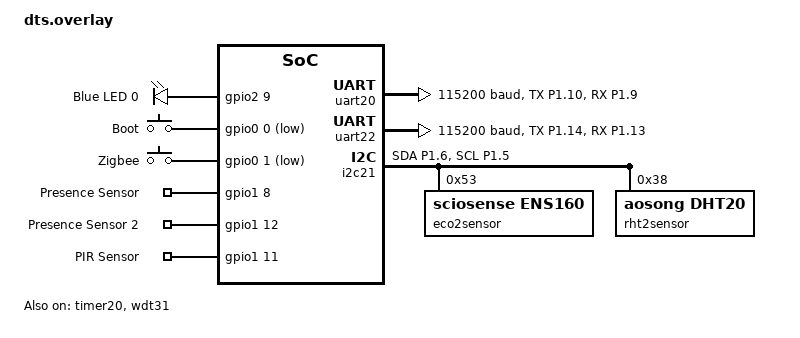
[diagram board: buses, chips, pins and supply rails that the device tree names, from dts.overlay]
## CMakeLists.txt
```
# SPDX-License-Identifier: Apache-2.0

cmake_minimum_required(VERSION 3.20.0)

if(NOT DEFINED ENV{USE_NRF52})
    set(EXTRA_DTC_OVERLAY_FILE "dts.overlay")
else()
    set(EXTRA_DTC_OVERLAY_FILE "dts.52840.overlay")
endif()

find_package(Zephyr REQUIRED HINTS $ENV{ZEPHYR_BASE})
project(presence_dfr_c4001)

target_include_directories(app PRIVATE submodules/esp_generic_lib/include)

target_sources(app PRIVATE src/main.cpp src/ld2412_task.cpp)

add_subdirectory(submodules/nrf_zb_cpp)
add_subdirectory(submodules/nrf_general)
add_subdirectory(submodules/nrf_uart)

target_include_directories(NrfLibUART PRIVATE submodules/esp_generic_lib/include)

target_link_libraries(app PUBLIC NrfLibGeneral)
target_link_libraries(app PUBLIC NrfZBCpp)
target_link_libraries(app PUBLIC NrfLibUART)

include(cmake/CustomLibcxx.cmake)

target_link_options(app PUBLIC
  -Wl,--wrap=nrf_802154_transmitted_raw
  -Wl,--wrap=nrf_802154_transmit_failed
  -Wl,--wrap=nrf_802154_receive_failed
  -Wl,--wrap=nrf_802154_received_raw
  -Wl,--wrap=zb_osif_abort
)

if(COMMAND setup_custom_libcxx)
    setup_custom_libcxx(app)
elseif(ZEPHYR_TOOLCHAIN_VARIANT STREQUAL "cross-compile")
    target_link_libraries(app PRIVATE c stdc++ supc++)
    # target_compile_options(app PRIVATE -fmacro-backtrace-limit=0)
    target_compile_options(app PRIVATE -D__cpp_concepts=202002L -Wno-builtin-macro-redefined -Wno-invalid-offsetof -Wno-unused-variable -Wno-double-promotion)
    target_compile_options(app PRIVATE -freflection)
else()
    target_link_libraries(app PRIVATE c stdc++ supc++)
    target_compile_options(app PRIVATE -fmacro-backtrace-limit=0)
    target_compile_options(app PRIVATE -D__cpp_concepts=202002L -Wno-builtin-macro-redefined -Wno-invalid-offsetof -Wno-unused-variable)
endif()

if(CONFIG_DEBUG_COREDUMP)
    target_compile_options(app PRIVATE -fno-omit-frame-pointer)
endif()
```

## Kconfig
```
config TOOLCHAIN_SUPPORTS_ISR_TABLES_LOCAL_DECLARATION
    default y
config TOOLCHAIN_SUPPORTS_THREAD_LOCAL_STORAGE
    default y
config ZBOSS_PREBUILT_STACK_LTO
    default n

source "Kconfig.zephyr"
```

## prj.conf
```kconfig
#
# Copyright (c) 2020 Nordic Semiconductor ASA
#
# SPDX-License-Identifier: LicenseRef-Nordic-5-Clause
#
CONFIG_SERIAL=y
CONFIG_GPIO=y
CONFIG_SENSOR=y
CONFIG_UART_USE_RUNTIME_CONFIGURE=y
CONFIG_UART_NRFX_CUSTOM_BAUDRATE=y

CONFIG_OVERRIDE_FRAME_POINTER_DEFAULT=y
CONFIG_OMIT_FRAME_POINTER=n
CONFIG_EXTRA_EXCEPTION_INFO=y
CONFIG_HW_STACK_PROTECTION=y
# CONFIG_DEBUG=y
# CONFIG_DEBUG_OPTIMIZATIONS=y
CONFIG_THREAD_MONITOR=y
CONFIG_DEBUG_THREAD_INFO=y
CONFIG_INIT_STACKS=n
CONFIG_RESET_ON_FATAL_ERROR=n

CONFIG_UART_ASYNC_API=y

CONFIG_REBOOT=y
CONFIG_RAM_POWER_DOWN_LIBRARY=y
CONFIG_SETTINGS=y
CONFIG_REGULATOR=y

CONFIG_BOOTLOADER_MCUBOOT=y

CONFIG_DEBUG_COREDUMP=y
CONFIG_DEBUG_COREDUMP_BACKEND_FLASH_PARTITION=y
CONFIG_DEBUG_COREDUMP_MEMORY_DUMP_THREADS=y
CONFIG_DEBUG_COREDUMP_THREADS_METADATA=y

CONFIG_WATCHDOG=y
CONFIG_WDT_DISABLE_AT_BOOT=y

CONFIG_HWINFO=y

CONFIG_NVS=y
CONFIG_SETTINGS_NVS=y
# CONFIG_ZMS=y
# CONFIG_SETTINGS_ZMS=y
# Optional but worthwhile - lookup caches for performance
# CONFIG_ZMS_LOOKUP_CACHE=y
# CONFIG_ZMS_LOOKUP_CACHE_FOR_SETTINGS=y
# CONFIG_SETTINGS_ZMS_NAME_CACHE=y
```

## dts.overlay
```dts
#include "partitions.dtsi"
#include "usb_uart.dtsi"
/ {
	chosen {
		ncs,zigbee-timer = &timer20;
		zephyr,code-partition = &slot0_partition;
		zephyr,console = &uart00;
	};

	leds {
		compatible = "gpio-leds";
		led0: led_0 {
			gpios = <&gpio2 9 GPIO_ACTIVE_HIGH>;
			label = "Blue LED 0";
		};
	};

	buttons {
		compatible = "gpio-keys";

		button0: button_0 {
			gpios = <&gpio0 0 (GPIO_PULL_UP | GPIO_ACTIVE_LOW)>;
			label = "Boot";
		};
		button1: button_1 {
			gpios = <&gpio0 1 (GPIO_PULL_UP | GPIO_ACTIVE_LOW)>;
			label = "Zigbee";
		};
	};

	aliases {
		watchdog0=&wdt31;
		userled0 = &led0;
		presence = &mmwave_sensor_1;
		presence2 = &mmwave_sensor_2;
		pir = &pir_sensor;
		mmwave-uart = &uart20;
		mmwave-uart2 = &uart22;
	};

	/* A standalone node describing your hardware */
	dfr_presence_sensor: presence_sensor {
		compatible = "gpio-keys";
		mmwave_sensor_1: mmwave_sensor_1{
			gpios = <&gpio1 8 (GPIO_ACTIVE_HIGH | GPIO_PULL_DOWN)>;
			label = "Presence Sensor";
		};
		mmwave_sensor_2: mmwave_sensor_2{
			gpios = <&gpio1 12 (GPIO_ACTIVE_HIGH | GPIO_PULL_DOWN)>;
			label = "Presence Sensor 2";
		};
		pir_sensor: pir_sensor{
			gpios = <&gpio1 11 (GPIO_ACTIVE_HIGH | GPIO_PULL_DOWN)>;
			label = "PIR Sensor";
		};
	};
};

&pinctrl {
	//Presence 1 UART
	/omit-if-no-ref/ uart20_default: uart20_default {
		group1 {
			psels = <NRF_PSEL(UART_TX, 1, 10)>;
		};
		group2 {
			psels = <NRF_PSEL(UART_RX, 1, 9)>;
			bias-pull-up;
		};
	};

	/omit-if-no-ref/ uart20_sleep: uart20_sleep {
		group1 {
			psels = <NRF_PSEL(UART_TX, 1, 10)>, <NRF_PSEL(UART_RX, 1, 9)>;
			low-power-enable;
		};
	};

	//i2c sensor bus
	/omit-if-no-ref/ i2c21_default: i2c21_default {
		group1 {
			psels = <NRF_PSEL(TWIM_SDA, 1, 6)>,
				<NRF_PSEL(TWIM_SCL, 1, 5)>;
		};
	};

	/omit-if-no-ref/ i2c21_sleep: i2c21_sleep {
		group1 {
			psels = <NRF_PSEL(TWIM_SDA, 1, 6)>,
				<NRF_PSEL(TWIM_SCL, 1, 5)>;
			low-power-enable;
		};
	};

	//Presence 2 UART
	/omit-if-no-ref/ uart22_default: uart22_default {
		group1 {
			psels = <NRF_PSEL(UART_TX, 1, 14)>;
		};
		group2 {
			psels = <NRF_PSEL(UART_RX, 1, 13)>;
			bias-pull-up;
		};
	};

	/omit-if-no-ref/ uart22_sleep: uart22_sleep {
		group1 {
			psels = <NRF_PSEL(UART_TX, 1, 14)>, <NRF_PSEL(UART_RX, 1, 13)>;
			low-power-enable;
		};
	};
};


&timer20 {
	status = "okay";
};

&uart20 {
	status = "okay";
	/* current-speed = <9600>; */
	current-speed = <115200>;
	pinctrl-0 = <&uart20_default>;
	pinctrl-1 = <&uart20_sleep>;
	pinctrl-names = "default", "sleep";
};

&uart22 {
	status = "okay";
	/* current-speed = <9600>; */
	current-speed = <115200>;
	pinctrl-0 = <&uart22_default>;
	pinctrl-1 = <&uart22_sleep>;
	pinctrl-names = "default", "sleep";
};

&i2c21 {
	status = "okay";
	pinctrl-0 = <&i2c21_default>;
	pinctrl-1 = <&i2c21_sleep>;
	pinctrl-names = "default", "sleep";

	eco2sensor: ens160@53{
		compatible="sciosense,ens160";
		reg = <0x53>;
		status = "okay";
		//zephyr,deferred-init;
	};
	rht2sensor: aht21@38{
		compatible="aosong,dht20";
		reg = <0x38>;
		status = "okay";
		//zephyr,deferred-init;
	};
};

&gpio2 {
	status = "okay";
};

&gpio0 {
	status = "okay";
};

&gpio1 {
	status = "okay";
};
&wdt31 {
	status = "okay";
};
```

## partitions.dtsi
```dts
/delete-node/ &code_partition;
&cpuapp_rram {
	status = "okay";
	partitions {
		compatible = "fixed-partitions";
		#address-cells = <1>;
		#size-cells = <1>;
		boot_partition: partition@0 {
			label = "mcuboot";
			reg = <0x0 DT_SIZE_K(68)>;
		};
		slot0_partition: partition@11000 {
			label = "image-0";
			reg = <0x11000 DT_SIZE_K(892)>;
		};
		coredump_partition: partition@f1000 {
			label = "coredump-partition";
			reg = <0xf1000 DT_SIZE_K(256)>;
		};
		breadcrumbs_partition: partition@15b800{
			label = "breadcrumbs-partition";
			reg = <0x15b800 DT_SIZE_K(2)>;
		};
		zboss_nvram: partition@15c000{
			label = "zboss-nvram";
			reg = <0x15c000 DT_SIZE_K(32)>;
		};
		zboss_product_config: partition@164000{
			label = "zboss-product-config";
			reg = <0x164000 DT_SIZE_K(4)>;
		};
		/* slot1_partition: partition@8D000 { */
		/* 	label = "image-1"; */
		/* 	reg = <0x8D000 DT_SIZE_K(500)>; */
		/* }; */
	};
};
```

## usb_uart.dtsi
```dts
&pinctrl {
	/omit-if-no-ref/ uart00_default: uart00_default {
		group1 {
			psels = <NRF_PSEL(UART_TX, 2, 2)>, <NRF_PSEL(UART_RX, 2, 0)>, <NRF_PSEL(UART_RTS, 2, 5)>, <NRF_PSEL(UART_CTS, 2, 4)>;
		};
	};

	/omit-if-no-ref/ uart00_sleep: uart00_sleep {
		group1 {
			psels = <NRF_PSEL(UART_TX, 2, 2)>, <NRF_PSEL(UART_RX, 2, 0)>, <NRF_PSEL(UART_RTS, 2, 5)>, <NRF_PSEL(UART_CTS, 2, 4)>;
			low-power-enable;
		};
	};
};
&uart00 { 
	status = "okay"; 
	/* current-speed = <14400>; => 115200 */
	current-speed = <115200>;/*921600*/
	pinctrl-0 = <&uart00_default>;
	pinctrl-1 = <&uart00_sleep>;
	pinctrl-names = "default", "sleep";
	hw-flow-control;
};
```

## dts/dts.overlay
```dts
#include "partitions.dtsi"
#include "zigbee_partitions.dtsi"
#include "usb_uart.dtsi"
/ {
	chosen {
		ncs,zigbee-timer = &timer20;
		zephyr,code-partition = &slot0_partition;
		zephyr,console = &uart00;
	};

	leds {
		compatible = "gpio-leds";
		led0: led_0 {
			gpios = <&gpio2 9 GPIO_ACTIVE_HIGH>;
			label = "Blue LED 0";
		};
	};

	buttons {
		compatible = "gpio-keys";

		button0: button_0 {
			gpios = <&gpio0 0 (GPIO_PULL_UP | GPIO_ACTIVE_LOW)>;
			label = "Boot";
		};
		button1: button_1 {
			gpios = <&gpio0 1 (GPIO_PULL_UP | GPIO_ACTIVE_LOW)>;
			label = "Zigbee";
		};
	};

	aliases {
		watchdog0=&wdt31;
		userled0 = &led0;
		presence = &mmwave_sensor_1;
		presence2 = &mmwave_sensor_2;
		pir = &pir_sensor;
		mmwave-uart = &uart20;
		mmwave-uart2 = &uart22;
	};

	/* A standalone node describing your hardware */
	dfr_presence_sensor: presence_sensor {
		compatible = "gpio-keys";
		mmwave_sensor_1: mmwave_sensor_1{
			gpios = <&gpio1 8 (GPIO_ACTIVE_HIGH | GPIO_PULL_DOWN)>;
			label = "Presence Sensor";
		};
		mmwave_sensor_2: mmwave_sensor_2{
			gpios = <&gpio1 12 (GPIO_ACTIVE_HIGH | GPIO_PULL_DOWN)>;
			label = "Presence Sensor 2";
		};
		pir_sensor: pir_sensor{
			gpios = <&gpio1 11 (GPIO_ACTIVE_HIGH | GPIO_PULL_DOWN)>;
			label = "PIR Sensor";
		};
	};

	cpuapp_sram@2002e800 {
		compatible = "zephyr,memory-region", "mmio-sram";
		reg = <0x2002e800 DT_SIZE_K(2)>;
		zephyr,memory-region = "BreadcrumbsMem";
		status = "okay";
		retainedmem {
			compatible = "zephyr,retained-ram";
			status = "okay";
		};
	};
};

&pinctrl {
	//Presence 1 UART
	/omit-if-no-ref/ uart20_default: uart20_default {
		group1 {
			psels = <NRF_PSEL(UART_TX, 1, 10)>;
		};
		group2 {
			psels = <NRF_PSEL(UART_RX, 1, 9)>;
			bias-pull-up;
		};
	};

	/omit-if-no-ref/ uart20_sleep: uart20_sleep {
		group1 {
			psels = <NRF_PSEL(UART_TX, 1, 10)>, <NRF_PSEL(UART_RX, 1, 9)>;
			low-power-enable;
		};
	};

	//i2c sensor bus
	/omit-if-no-ref/ i2c21_default: i2c21_default {
		group1 {
			psels = <NRF_PSEL(TWIM_SDA, 1, 6)>,
				<NRF_PSEL(TWIM_SCL, 1, 5)>;
		};
	};

	/omit-if-no-ref/ i2c21_sleep: i2c21_sleep {
		group1 {
			psels = <NRF_PSEL(TWIM_SDA, 1, 6)>,
				<NRF_PSEL(TWIM_SCL, 1, 5)>;
			low-power-enable;
		};
	};

	//Presence 2 UART
	/omit-if-no-ref/ uart22_default: uart22_default {
		group1 {
			psels = <NRF_PSEL(UART_TX, 1, 14)>;
		};
		group2 {
			psels = <NRF_PSEL(UART_RX, 1, 13)>;
			bias-pull-up;
		};
	};

	/omit-if-no-ref/ uart22_sleep: uart22_sleep {
		group1 {
			psels = <NRF_PSEL(UART_TX, 1, 14)>, <NRF_PSEL(UART_RX, 1, 13)>;
			low-power-enable;
		};
	};
};


&timer20 {
	status = "okay";
};

&uart20 {
	status = "okay";
	/* current-speed = <9600>; */
	current-speed = <115200>;
	pinctrl-0 = <&uart20_default>;
	pinctrl-1 = <&uart20_sleep>;
	pinctrl-names = "default", "sleep";
};

&uart22 {
	status = "okay";
	/* current-speed = <9600>; */
	current-speed = <115200>;
	pinctrl-0 = <&uart22_default>;
	pinctrl-1 = <&uart22_sleep>;
	pinctrl-names = "default", "sleep";
};

&i2c21 {
	status = "okay";
	pinctrl-0 = <&i2c21_default>;
	pinctrl-1 = <&i2c21_sleep>;
	pinctrl-names = "default", "sleep";

	eco2sensor: ens160@53{
		compatible="sciosense,ens160";
		reg = <0x53>;
		status = "okay";
		//zephyr,deferred-init;
	};
	rht2sensor: aht21@38{
		compatible="aosong,dht20";
		reg = <0x38>;
		status = "okay";
		//zephyr,deferred-init;
	};
};

&gpio2 {
	status = "okay";
};

&gpio0 {
	status = "okay";
};

&gpio1 {
	status = "okay";
};
&wdt31 {
	status = "okay";
};

&cpuapp_sram {
	/* Shrink SRAM size to avoid overlap with retained memory region */
	reg = <0x20000000 DT_SIZE_K(186)>;
	ranges = <0x0 0x20000000 0x2e800>;
};
```

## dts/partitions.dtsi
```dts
/delete-node/ &code_partition;
&cpuapp_rram {
	status = "okay";
	partitions {
		compatible = "fixed-partitions";
		#address-cells = <1>;
		#size-cells = <1>;
		boot_partition: partition@0 {
			label = "mcuboot";
			reg = <0x0 DT_SIZE_K(62)>;
		};
		slot0_partition: partition@f800 {
			label = "image-0";
			reg = <0xf800 DT_SIZE_K(900)>;
		};
		coredump_partition: partition@f1000 {
			label = "coredump-partition";
			reg = <0xf1000 DT_SIZE_K(256)>;
		};
		breadcrumbs_partition: partition@15b800{
			label = "breadcrumbs-partition";
			reg = <0x15b800 DT_SIZE_K(2)>;
		};
	};
};
```

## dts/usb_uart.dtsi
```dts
&pinctrl {
	/omit-if-no-ref/ uart00_default: uart00_default {
		group1 {
			psels = <NRF_PSEL(UART_TX, 2, 2)>, <NRF_PSEL(UART_RX, 2, 0)>, <NRF_PSEL(UART_RTS, 2, 5)>, <NRF_PSEL(UART_CTS, 2, 4)>;
		};
	};

	/omit-if-no-ref/ uart00_sleep: uart00_sleep {
		group1 {
			psels = <NRF_PSEL(UART_TX, 2, 2)>, <NRF_PSEL(UART_RX, 2, 0)>, <NRF_PSEL(UART_RTS, 2, 5)>, <NRF_PSEL(UART_CTS, 2, 4)>;
			low-power-enable;
		};
	};
};
&uart00 { 
	status = "okay"; 
	//current-speed = <14400>;/*115200*/
	current-speed = <115200>;/*921600*/
	//current-speed = <57600>;/*460800*/
	pinctrl-0 = <&uart00_default>;
	pinctrl-1 = <&uart00_sleep>;
	pinctrl-names = "default", "sleep";
	hw-flow-control;
};
```

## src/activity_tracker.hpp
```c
#ifndef ACTIVITY_TRACKER_HPP_
#define ACTIVITY_TRACKER_HPP_

#include <atomic>
#include <cstddef>
#include <cstdint>

namespace zephyr
{

    template<uint8_t kFlag>
    struct activity_t
    {
        std::atomic_ref<volatile uint8_t> f;
        activity_t(volatile uint8_t &d):f(d) { f |= kFlag; }
        ~activity_t() { f &= ~kFlag; }
    };

    struct activity_rt_t
    {
        std::atomic_ref<volatile uint8_t> f;
        uint8_t kFlag;
        activity_rt_t(volatile uint8_t &d, uint8_t flag):f(d), kFlag(flag) { f |= kFlag; }
        ~activity_rt_t() { f &= ~kFlag; }
    };

    constexpr uint8_t kOSIF  = uint8_t(1) << 0;
    constexpr uint8_t kLD2412_Back_Main  = uint8_t(1) << 1;
    constexpr uint8_t kLD2412_Back_Aux   = uint8_t(1) << 2;
    constexpr uint8_t kLD2412_Front_Main = uint8_t(1) << 3;
    constexpr uint8_t kLD2412_Front_Aux  = uint8_t(1) << 4;
    constexpr uint8_t kEnv               = uint8_t(1) << 5;
}

#endif
```

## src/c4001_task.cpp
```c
#define FORCE_FMT
#define PRINTF_FUNC(...) printk(__VA_ARGS__)

#include <zephyr/kernel.h>
#include <zephyr/drivers/gpio.h>
#include "c4001_task.hpp"
#include <lib_misc_helpers.hpp>

namespace c4001
{
    Instance::Instance(C4001Q &q, const struct device *uart, const char* thread_name):
	c4001_thread_name(thread_name),
	c4001q(q),
	c4001_uart(uart),
	c4001(c4001_uart)
    {
    }

    dfr::C4001* Instance::setup(err_callback_t err, upd_callback_t upd)
    {
	if (!device_is_ready(c4001_uart))
	{
	    printk("uart for c4001 is not ready\r\n");
	    c4001_thread = nullptr;
	    return nullptr;
	}
	auto r = c4001.Init();
	if (!r)
	{
	    FMT_PRINTLN("c4001 init failed with {}", r.error());
	    c4001_thread = nullptr;
	    return nullptr;
	}
	g_err = err;
	g_upd = upd;

	c4001_thread = k_thread_create(&c4001_thread_e 
	    ,c4001_thread_stack
	    ,sizeof(c4001_thread_stack)
	    ,c4001_thread_entry
	    ,this, nullptr, nullptr
	    ,C4001_THREAD_PRIORITY
	    , 0
	    , {0});
	if (!c4001_thread)
	    return nullptr;
	k_thread_name_set(c4001_thread, c4001_thread_name);
	return &c4001;
    }

    dfr::C4001* Instance::sensor()
    {
	return &c4001;
	//if (c4001_thread)
	//    return &c4001;
	//else
	//    return nullptr;
    }

    void Instance::set_range(float from, float to)
    {
	c4001q << range_t{.from = from, .to = to};
    }

    void Instance::set_range_from(float v)
    {
	c4001q << range_t{.from = v, .to = c4001.GetRangeTo()};
    }

    void Instance::set_range_to(float v)
    {
	c4001q << range_t{.from = c4001.GetRangeFrom(), .to = v};
    }

    void Instance::set_range_trig(float trig)
    {
	c4001q << range_trig_t{.trig = trig};
    }

    void Instance::set_detect_delay(float v)
    {
	c4001q << delay_t{.detect = v, .clear = c4001.GetClearLatency()};
    }

    void Instance::set_clear_delay(float v)
    {
	c4001q << delay_t{.detect = c4001.GetDetectLatency(), .clear = v};
    }

    void Instance::set_detect_clear_delay(float detect, float clear)
    {
	c4001q << delay_t{.detect = detect, .clear = clear};
    }

    void Instance::set_detect_sensitivity(uint8_t s)
    {
	c4001q << sensitivity_t{.detect = s, .hold = 255};
    }

    void Instance::set_hold_sensitivity(uint8_t s)
    {
	c4001q << sensitivity_t{.detect = 255, .hold = s};
    }

    void Instance::set_sensitivity(uint8_t detect, uint8_t hold)
    {
	c4001q << sensitivity_t{.detect = detect, .hold = hold};
    }

    void Instance::set_inhibit_duration(float dur)
    {
	c4001q << inhibit_duration_t{.duration = dur};
    }

    void Instance::save_config()
    {
	c4001q << save_cfg_t{};
    }

    void Instance::reset_config()
    {
	c4001q << reset_cfg_t{};
    }

    void Instance::restart()
    {
	c4001q << restart_cfg_t{};
    }

    void Instance::c4001_thread_entry(void *_pThis, void *, void *)
    {
	Instance *pThis = (Instance*)(_pThis);
	return pThis->c4001_mainloop();
    }

    void Instance::c4001_mainloop()
    {
	QueueItem q;
	using Cfg = dfr::C4001::Configurator;
	while(1)
	{
	    c4001q >> q;
	    std::visit(
		overloaded{
		    [&](range_t const& v){ 
			if (auto r = c4001
				.GetConfigurator()
				.SetRange(v.from, v.to)
				.and_then([](Cfg &cfg){ return cfg.SaveConfig(); })
				.and_then([](Cfg &cfg){ return cfg.UpdateRange(); }); !r)
			{
			    if (g_err) g_err(err_t::Range);
			}
			else if (g_upd)
			    g_upd(cfg_id_t::Range);
		    }
		    ,[&](range_trig_t const& v){  
			if (auto r = c4001
				.GetConfigurator()
				.SetTrigRange(v.trig)
				.and_then([](Cfg &cfg){ return cfg.SaveConfig(); })
				.and_then([](Cfg &cfg){ return cfg.UpdateTrigRange(); }); !r)
			{
			    if (g_err) g_err(err_t::RangeTrig);
			}
			else if (g_upd)
			    g_upd(cfg_id_t::RangeTrig);
		    }
		    ,[&](delay_t const& v){  
			if (auto r = c4001
				.GetConfigurator()
				.SetLatency(v.detect, v.clear)
				.and_then([](Cfg &cfg){ return cfg.SaveConfig(); })
				.and_then([](Cfg &cfg){ return cfg.UpdateLatency(); }); !r)
			{
			    if (g_err) g_err(err_t::Delay);
			}
			else if (g_upd)
			    g_upd(cfg_id_t::Delay);
		    }
		    ,[&](sensitivity_t const& v){  
			if (auto r = c4001
				.GetConfigurator()
				.SetSensitivity(v.detect, v.hold)
				.and_then([](Cfg &cfg){ return cfg.SaveConfig(); })
				.and_then([](Cfg &cfg){ return cfg.UpdateSensitivity(); }); !r)
			{
			    if (g_err) g_err(err_t::Sensitivity);
			}
			else if (g_upd)
			    g_upd(cfg_id_t::Sensitivity);
		    }
		    ,[&](inhibit_duration_t const& v){  
			if (auto r = c4001
				.GetConfigurator()
				.SetInhibit(v.duration)
				.and_then([](Cfg &cfg){ return cfg.SaveConfig(); })
				.and_then([](Cfg &cfg){ return cfg.UpdateInhibit(); }); !r)
			{
			    if (g_err) g_err(err_t::InhibitDuration);
			}
			else if (g_upd)
			    g_upd(cfg_id_t::InhibitDuration);
		    }
		    ,[&](save_cfg_t const& v){  
			if (auto r = c4001
				.GetConfigurator()
				.SaveConfig(); !r && g_err)
			    g_err(err_t::SaveConfig);
		    }
		    ,[&](reset_cfg_t const& v){  
			if (auto r = c4001
				.GetConfigurator()
				.ResetConfig(); !r)
			{
			    if (g_err) g_err(err_t::ResetConfig);
			}
			else if (g_upd)
			    g_upd(cfg_id_t::All);
		    }
		    ,[&](restart_cfg_t const& v){  
			if (auto r = c4001
				.GetConfigurator()
				.Restart(); !r)
			{
			    if (g_err) g_err(err_t::Restart);
			}
			else if (g_upd)
			    g_upd(cfg_id_t::All);
		    }
		    ,[&](reload_cfg_t const& v){  
			if (auto r = c4001
				.GetConfigurator()
				.ReloadConfig(); !r)
			{
			    if (g_err) g_err(err_t::ReloadConfig);
			}
			else if (g_upd)
			    g_upd(cfg_id_t::All);
		    }
		},
		q
	    );
	}
    }
}
```

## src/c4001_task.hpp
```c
#ifndef C4001_TASK_HPP_
#define C4001_TASK_HPP_
#include <nrf_uart/periphery/lib_dfr_c4001.h>
#include <utility>
#include <variant>
#include <nrf_general/lib_msgq_typed.hpp>

namespace c4001
{
    enum class cfg_id_t: uint8_t
    {
        Range           = 1 << 0,
        RangeTrig       = 1 << 1,
        Delay           = 1 << 2,
        Sensitivity     = 1 << 3,
        InhibitDuration = 1 << 4,
        All = Range | RangeTrig | Delay | Sensitivity | InhibitDuration,
    };
    constexpr bool operator&(cfg_id_t i1, cfg_id_t i2) { return (std::to_underlying(i1) & std::to_underlying(i2)) != 0; }

    enum class err_t
    {
        Ok,
        Range,
        RangeTrig,
        Delay,
        Sensitivity,
        InhibitDuration,
        SaveConfig,
        ResetConfig,
        Restart,
        ReloadConfig,
    };

    class Instance
    {
    public:
        using err_callback_t = void(*)(err_t);
        using upd_callback_t = void(*)(cfg_id_t);

        /**********************************************************************/
        /* Message Queue definitions + commands                               */
        /**********************************************************************/
        struct range_t
        {
            float from;
            float to;
        };
        struct range_trig_t
        {
            float trig;
        };
        struct delay_t
        {
            float detect;
            float clear;
        };
        struct sensitivity_t
        {
            uint8_t detect;
            uint8_t hold;
        };
        struct inhibit_duration_t
        {
            float duration;
        };
        struct save_cfg_t{};
        struct reset_cfg_t{};
        struct restart_cfg_t{};
        struct reload_cfg_t{};

        using QueueItem = std::variant<
                      range_t
                    , range_trig_t
                    , delay_t
                    , sensitivity_t
                    , inhibit_duration_t
                    , save_cfg_t
                    , reset_cfg_t
                    , restart_cfg_t
                    , reload_cfg_t
                >;

        using C4001Q = msgq::Queue<QueueItem,4>;

        Instance(C4001Q &q, const struct device *uart, const char* thread_name);

        dfr::C4001* setup(err_callback_t err, upd_callback_t upd);

        dfr::C4001* sensor();

        void set_range(float from, float to);
        void set_range_from(float v);
        void set_range_to(float v);
        void set_range_trig(float trig);
        void set_detect_delay(float v);
        void set_clear_delay(float v);
        void set_detect_clear_delay(float detect, float clear);
        void set_detect_sensitivity(uint8_t s);
        void set_hold_sensitivity(uint8_t s);
        void set_sensitivity(uint8_t detect, uint8_t hold);
        void set_inhibit_duration(float dur);
        void save_config();
        void reset_config();
        void restart();

    private:
        static void c4001_thread_entry(void *, void *, void *);
        void c4001_mainloop();


        static constexpr size_t C4001_THREAD_STACK_SIZE = 1024 * 2;
        static constexpr size_t C4001_THREAD_PRIORITY=7;
        alignas(16) k_thread_stack_t c4001_thread_stack[C4001_THREAD_STACK_SIZE];
        k_thread c4001_thread_e;
        const char *c4001_thread_name = nullptr;

        k_tid_t c4001_thread = nullptr;
        C4001Q &c4001q;
        err_callback_t g_err = nullptr;
        upd_callback_t g_upd = nullptr;
        const struct device *c4001_uart;
        dfr::C4001 c4001;
    };
}

#endif
```

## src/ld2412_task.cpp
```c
#include "ld2412_task.hpp"
#include "activity_tracker.hpp"
#include <lib_misc_helpers.hpp>
#include <nrf_uart/periphery/lib_ld2412_formatters.hpp>

namespace ld2412
{
    Instance::Instance(Queue &q, const struct device *uart, const char* thread_name):
	m_ThreadName(thread_name)
	, m_Q(q)
	, m_pUART(uart)
	, m_Sensor(uart)
    {
    }

    hlk::LD2412* Instance::setup(err_callback_t err, notify_callback_t notification, uint8_t idx, volatile uint8_t &flags)
    {
	m_Idx = idx;
	m_pFlags = &flags;
	m_ThreadID = {};
	if (!device_is_ready(m_pUART))
	{
	    printk("uart for ld2412 is not ready\r\n");
	    return {};
	}

	zephyr::activity_rt_t track(*m_pFlags, zephyr::kLD2412_Back_Main << m_Idx);
	auto r = m_Sensor.Init();
	if (!r)
	    return {};

	r = m_Sensor.ChangeConfiguration()
	    .SetSystemMode(hlk::LD2412::SystemMode::Energy)
	.EndChange();
	if (!r)
	    return {};

	m_ErrCB = err;
	m_NotifyCB = notification;

	m_ThreadID = k_thread_create(&m_Thread 
	    ,m_ThreadStack
	    ,sizeof(m_ThreadStack)
	    ,thread_func
	    ,this, nullptr, nullptr
	    ,THREAD_PRIORITY
	    , 0
	    , {0});
	if (!m_ThreadID)
	    return {};
	k_thread_name_set(m_ThreadID, m_ThreadName);
	return &m_Sensor;
    }

    hlk::LD2412* Instance::sensor()
    {
	if (m_ThreadID)
	    return &m_Sensor;
	else
	    return {};
    }

    void Instance::restart()
    {
	m_Q << restart_cfg_t{};
    }
    void Instance::reload_config()
    {
	m_Q << reload_cfg_t{};
    }
    void Instance::factory_reset()
    {
	m_Q << factory_reset_cfg_t{};
    }
    void Instance::switch_bluetooth(bool on)
    {
	m_Q << bt_cfg_t{.on = on};
    }
    void Instance::set_basic_config(basic_cfg_t const& cfg)
    {
	m_Q << cfg;
    }
    void Instance::set_light_sense(light_sense_cfg_t const& cfg)
    {
	m_Q << cfg;
    }
    void Instance::set_still_thresholds(still_thresholds_cfg_t const& cfg)
    {
	FMT_PRINTLN("{} still thresholds: {}", m_ThreadName, cfg.still_thresholds);
	m_Q << cfg;
    }
    void Instance::set_move_thresholds(move_thresholds_cfg_t const& cfg)
    {
	FMT_PRINTLN("{} move thresholds: {}", m_ThreadName, cfg.move_thresholds);
	m_Q << cfg;
    }
    void Instance::run_back_analysis(run_background_analysis_t const& cfg)
    {
	m_Q << cfg;
    }
    void Instance::collect_statistics(uint8_t win_size)
    {
	m_Q << collect_statistics_cfg_t{win_size};
    }
    void Instance::take_statistic_snapshot(snapshot_statistics_cfg_t const& cfg)
    {
	m_Q << cfg;
    }

    void Instance::start_analysis_for_presence(start_analysis_for_presence_t const& cfg)
    {
	m_Q << cfg;
    }

    void Instance::start_analysis_for_absence(start_analysis_for_absence_t const& cfg)
    {
	m_Q << cfg;
    }

    void Instance::stop_analysis(stop_analysis_t const& cfg)
    {
	m_Q << cfg;
    }

    void Instance::get_analysis_results(hlk::LD2412::gate_array_t &results)
    {
	results = m_AnalysisStillEnergies;
    }

    void Instance::thread_func(void *_pThis, void *, void *)
    {
	Instance *pThis = (Instance*)(_pThis);
	return pThis->mainloop();
    }

    void Instance::collect_sample()
    {
	if (m_StatSampleCount)//we're collecting statistics
	{
	    auto &sample = m_StatSampleBuffer[m_StatSampleIndex];
	    sample.still_energies = m_Sensor.GetAllMeasuredStillEnergies();
	    sample.move_energies = m_Sensor.GetAllMeasuredMoveEnergies();
	    m_StatSampleIndex = (m_StatSampleIndex + 1) % m_StatSampleCount;
	    ++m_TotalSamplesWritten;
	}

	if (m_Analysis != AnalysisState::Stopped)
	{
	    auto const &measured = m_Sensor.GetAllMeasuredStillEnergies();
	    for(size_t i = 0; i < measured.size(); ++i)
	    {
		if (m_Analysis == AnalysisState::RunningForPresence)
		{
		    if (m_AnalysisStillEnergies[i] > measured[i])
			m_AnalysisStillEnergies[i] = measured[i];
		}
		if (m_Analysis == AnalysisState::RunningForAbsence)
		{
		    if (m_AnalysisStillEnergies[i] < measured[i])
			m_AnalysisStillEnergies[i] = measured[i];
		}
	    }
	}
    }

    void Instance::check_back_analysis()
    {
	if (m_BackgroundAnalysisDoneCB)
	{
	    run_background_analysis_t::Result r;
	    switch(m_Sensor.GetPresence().m_State)
	    {
		case hlk::LD2412::TargetState::BackgroundAnalysisOk:
		    r = run_background_analysis_t::Result::Ok;
		    break;
		case hlk::LD2412::TargetState::BackgroundAnalysisFailed:
		    r = run_background_analysis_t::Result::Failed;
		    break;
		case hlk::LD2412::TargetState::BackgroundAnalysisRunning:
		    return;
		default:
		    if (m_Sensor.IsDynamicBackgroundAnalysisRunning())
			return;
		    //assuming done
		    r = run_background_analysis_t::Result::Ok;
		    break;
	    }

	    m_BackgroundAnalysisDoneCB(r);
	    m_BackgroundAnalysisDoneCB = nullptr;

	    auto res = m_Sensor.ChangeConfiguration()
		.SetSystemMode(hlk::LD2412::SystemMode::Energy)
	    .EndChange();
	    if (!res)
	    {
		FMT_PRINTLN("{} Switching to Energy mode failed with: {}", m_ThreadName, res.error());
		if (m_ErrCB)
		    m_ErrCB(err_t::EnergyModeAfterBackAnalysis);
	    }
	}
    }

    void Instance::mainloop()
    {
	QueueItem q;
	bool processMessage = true;
	bool readFrameNow = false;

	auto last_frame_time = k_uptime_get();

	while(1)
	{
	    if (m_StatSampleCount || m_BackgroundAnalysisDoneCB || m_Analysis != AnalysisState::Stopped)
		readFrameNow = true;
	    else
	    {
		auto interval = m_LightSensorUpdateInterval;
		readFrameNow = (k_uptime_get() - last_frame_time) >= interval;
	    }

	    if (readFrameNow)
	    {
		zephyr::activity_rt_t track(*m_pFlags, zephyr::kLD2412_Back_Main << m_Idx);
		auto r = m_Sensor.TryReadSingleFrame(3, hlk::LD2412::Drain::Try);
		if (r)
		{
		    last_frame_time = k_uptime_get();
		    collect_sample();
		    check_back_analysis();
		}else
		    ++m_FrameReadErrorCount;
		processMessage = m_Q.Recv(q, K_NO_WAIT) == 0;
	    }
	    else
	    {
		m_Q >> q;
		processMessage = true;
	    }

	    if (processMessage)
	    {
		zephyr::activity_rt_t track(*m_pFlags, zephyr::kLD2412_Back_Main << m_Idx);
		std::visit(
		    overloaded{
			[&](restart_cfg_t const&)
			{
			    if (auto r = m_Sensor.Restart(); !r)
			    {
				FMT_PRINTLN("{} Restart failed with: {}", m_ThreadName, r.error());
				if (m_ErrCB) m_ErrCB(err_t::Restart);
			    }
			}
			,[&](reload_cfg_t const&)
			{
			    if (auto r = m_Sensor.ReloadConfig(); !r)
			    {
				FMT_PRINTLN("{} Reload failed with: {}", m_ThreadName, r.error());
				if (m_ErrCB) m_ErrCB(err_t::ReloadConfig);
			    }
			}
			,[&](factory_reset_cfg_t const&)
			{
			    if (auto r = m_Sensor.FactoryReset(); !r)
			    {
				FMT_PRINTLN("{} Factory reset failed with: {}", m_ThreadName, r.error());
				if (m_ErrCB) m_ErrCB(err_t::FactoryReset);
			    }
			}
			,[&](bt_cfg_t const& cfg)
			{
			    if (auto r = m_Sensor.SwitchBluetooth(cfg.on); !r)
			    {
				FMT_PRINTLN("{} BT switch failed with: {}", m_ThreadName, r.error());
				if (m_ErrCB) m_ErrCB(err_t::Bluetooth);
			    }
			}
			,[&](basic_cfg_t const& cfg)
			{
			    auto r = m_Sensor.ChangeConfiguration(true)
				.SetDistanceRes(cfg.resolution)
				.SetMinDistanceRaw(cfg.gate_from)
				.SetMaxDistanceRaw(cfg.gate_to)
				.SetTimeout(cfg.clear_delay)
			    .EndChange();
			    if (!r)
			    {
				FMT_PRINTLN("{} Basic config set failed with: {}", m_ThreadName, r.error());
			    }
			    else if (r && m_NotifyCB)
				m_NotifyCB(notification_id_t::SetBasicCfgDone);
			    if (!r && m_ErrCB)
				m_ErrCB(err_t::SetBasicCfg);
			}
			,[&](light_sense_cfg_t const& cfg)
			{
			    auto r = m_Sensor.ChangeConfiguration(true)
				.SetLightSensitivity(cfg.mode, cfg.threshold)
			    .EndChange();
			    if (!r)
			    {
				FMT_PRINTLN("{} Light sense set failed with: {}", m_ThreadName, r.error());
			    }
			    else if (r && m_NotifyCB)
				m_NotifyCB(notification_id_t::SetLightSenseDone);
			    if (!r && m_ErrCB)
				m_ErrCB(err_t::SetLightSenseCfg);
			}
			,[&](still_thresholds_cfg_t const& cfg)
			{
			    auto r = m_Sensor.ChangeConfiguration(true)
				.SetStillThresholds(cfg.still_thresholds)
			    .EndChange();
			    if (!r)
			    {
				FMT_PRINTLN("{} Still thr set failed with: {}", m_ThreadName, r.error());
			    }
			    else if (r && m_NotifyCB)
				m_NotifyCB(notification_id_t::SetEnergyThresholdsDone);
			    if (!r && m_ErrCB)
				m_ErrCB(err_t::SetEnergyThresholds);
			}
			,[&](move_thresholds_cfg_t const& cfg)
			{
			    auto r = m_Sensor.ChangeConfiguration(true)
				.SetMoveThresholds(cfg.move_thresholds)
			    .EndChange();
			    if (!r)
			    {
				FMT_PRINTLN("{} Move thr set failed with: {}", m_ThreadName, r.error());
			    }
			    else if (r && m_NotifyCB)
				m_NotifyCB(notification_id_t::SetEnergyThresholdsDone);
			    if (!r && m_ErrCB)
				m_ErrCB(err_t::SetEnergyThresholds);
			}
			,[&](run_background_analysis_t const& cfg)
			{
			    if (auto r = m_Sensor.RunDynamicBackgroundAnalysis(); !r)
			    {
				FMT_PRINTLN("{} starting back analysis failed with: {}", m_ThreadName, r.error());
				if (m_ErrCB)
				    m_ErrCB(err_t::RunBackAnalysis);
			    }else
				m_BackgroundAnalysisDoneCB = cfg.cb;
			}
			,[&](collect_statistics_cfg_t const& cfg)
			{
			    m_StatSampleCount = cfg.window_size;
			    if (m_StatSampleCount > MAX_STAT_SAMPLE_SIZE)
				m_StatSampleCount = MAX_STAT_SAMPLE_SIZE;
			    m_StatSampleIndex = 0;
			    m_TotalSamplesWritten = 0;
			    FMT_PRINTLN("{}: Collecting stats with window {}", m_ThreadName, m_StatSampleCount);
			    if (m_Sensor.GetSystemMode() != hlk::LD2412::SystemMode::Energy)
			    {
				FMT_PRINTLN("{}: changing mode to 'Energy'", m_ThreadName);
				auto r = m_Sensor.ChangeConfiguration()
				    .SetSystemMode(hlk::LD2412::SystemMode::Energy)
				.EndChange();
				if (!r)
				{
				    FMT_PRINTLN("{}: changing mode failed with {}", m_ThreadName, r.error());
				}
			    }
			}
			,[&](snapshot_statistics_cfg_t const& cfg)
			{
			    if (cfg.cb)
			    {
				if (!m_TotalSamplesWritten)
				{
				    FMT_PRINTLN("{}: no samples collected. Frame reading errors: {}", m_ThreadName, m_FrameReadErrorCount);
				    if (m_ErrCB)
					m_ErrCB(err_t::SnapshotStatistics);
				    return;
				}
				hlk::LD2412::energy_stat_array_t still, move;
				size_t sum_still[14];  
				size_t sum_move[14];  

				for(int g = 0; g < 14; ++g)
				{
				    auto still_e = m_StatSampleBuffer[0].still_energies[g];
				    auto move_e = m_StatSampleBuffer[0].move_energies[g];

				    sum_still[g] = still[g].max = still[g].min = still_e;
				    sum_move[g] = move[g].max = move[g].min = move_e;
				}

				size_t n = std::min(m_TotalSamplesWritten, m_StatSampleCount);
				for(size_t sample = 1; sample < n; ++sample)
				{
				    for(int g = 0; g < 14; ++g)
				    {
					auto still_e = m_StatSampleBuffer[sample].still_energies[g];
					auto move_e = m_StatSampleBuffer[sample].move_energies[g];

					sum_still[g] += still_e;
					sum_move[g] += move_e;

					if(still[g].min > still_e) still[g].min = still_e;
					if(still[g].max < still_e) still[g].max = still_e;
					if(move[g].min > move_e) move[g].min = move_e;
					if(move[g].max < move_e) move[g].max = move_e;
				    }
				}

				for(int g = 0; g < 14; ++g)
				{
				    still[g].avg = sum_still[g] / n;
				    move[g].avg = sum_move[g] / n;
				}

				cfg.cb(still, move);
			    }
			}
			,[&](start_analysis_for_presence_t const& cfg)
			{
			    if (m_Analysis != AnalysisState::RunningForPresence)
			    {
				m_AnalysisStillEnergies.fill(100);
				m_Analysis = AnalysisState::RunningForPresence;
				if (m_Sensor.GetSystemMode() != hlk::LD2412::SystemMode::Energy)
				{
				    FMT_PRINTLN("{}: changing mode to 'Energy'", m_ThreadName);
				    auto r = m_Sensor.ChangeConfiguration()
					.SetSystemMode(hlk::LD2412::SystemMode::Energy)
					.EndChange();
				    if (!r)
				    {
					FMT_PRINTLN("{}: changing mode failed with {}", m_ThreadName, r.error());
				    }
				}
			    }
			}
			,[&](start_analysis_for_absence_t const& cfg)
			{
			    if (m_Analysis != AnalysisState::RunningForAbsence)
			    {
				m_AnalysisStillEnergies.fill(0);
				m_Analysis = AnalysisState::RunningForAbsence;
				if (m_Sensor.GetSystemMode() != hlk::LD2412::SystemMode::Energy)
				{
				    FMT_PRINTLN("{}: changing mode to 'Energy'", m_ThreadName);
				    auto r = m_Sensor.ChangeConfiguration()
					.SetSystemMode(hlk::LD2412::SystemMode::Energy)
					.EndChange();
				    if (!r)
				    {
					FMT_PRINTLN("{}: changing mode failed with {}", m_ThreadName, r.error());
				    }
				}
			    }
			}
			,[&](stop_analysis_t const& cfg)
			{
			    m_Analysis = AnalysisState::Stopped;
			}
		    },
		     q
		);
	    }
	}
    }
}
```

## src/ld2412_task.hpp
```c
#ifndef LD2412_TASK_HPP_
#define LD2412_TASK_HPP_

#include <optional>
#include <variant>
#include <nrf_general/lib_msgq_typed.hpp>
#include <nrf_uart/periphery/lib_ld2412.hpp>

namespace ld2412
{
    enum class err_t
    {
        Ok,
        Restart,
        ReloadConfig,
        FactoryReset,
        Bluetooth,
        SetBasicCfg,
        SetLightSenseCfg,
        SetEnergyThresholds,
        RunBackAnalysis,
        ConfigureCollectStatistics,
        SnapshotStatistics,
        EnergyModeAfterBackAnalysis
    };

    enum class notification_id_t: uint8_t
    {
        BackgroundAnalysisDone
        , BackgroundAnalysisError
        , SetBasicCfgDone
        , SetLightSenseDone
        , SetEnergyThresholdsDone
    };

    struct basic_cfg_t{
        hlk::LD2412::DistanceRes resolution = hlk::LD2412::DistanceRes::_0_50;
        uint8_t gate_from = 0;
        uint8_t gate_to = 13;
        uint16_t clear_delay = 0;
    };
    struct light_sense_cfg_t{
        hlk::LD2412::LightSensitivity mode = hlk::LD2412::LightSensitivity::Off;;
        uint8_t threshold = 0;
    };
    struct still_thresholds_cfg_t{
        hlk::LD2412::gate_array_t const& still_thresholds;
    };
    struct move_thresholds_cfg_t{
        hlk::LD2412::gate_array_t const& move_thresholds;
    };
    struct run_background_analysis_t{
        enum class Result
        {
            Ok,
            Failed
        };
        using callback_t = void(*)(Result result);
        callback_t cb;
    };
    struct collect_statistics_cfg_t{
        uint8_t window_size = 0;//samples 0 -> off
    };
    struct snapshot_statistics_cfg_t{
        using callback_t = void(*)(hlk::LD2412::energy_stat_array_t const& still, hlk::LD2412::energy_stat_array_t const& move);
        callback_t cb;
    };
    struct restart_cfg_t{};
    struct reload_cfg_t{};
    struct factory_reset_cfg_t{};
    struct bt_cfg_t{bool on;};
    struct start_analysis_for_presence_t{};
    struct start_analysis_for_absence_t{};
    struct stop_analysis_t{};

    using QueueItem = std::variant<
        restart_cfg_t
        , reload_cfg_t
        , factory_reset_cfg_t
        , bt_cfg_t
        , basic_cfg_t
        , light_sense_cfg_t
        , still_thresholds_cfg_t
        , move_thresholds_cfg_t
        , run_background_analysis_t
        , collect_statistics_cfg_t
        , snapshot_statistics_cfg_t
        , start_analysis_for_presence_t
        , start_analysis_for_absence_t
        , stop_analysis_t
    >;
    using Queue = msgq::Queue<QueueItem,4>;

    class Instance
    {
    public:
        using err_callback_t = void(*)(err_t);
        using notify_callback_t = void(*)(notification_id_t);

        Instance(Queue &q, const struct device *uart, const char* thread_name);

        hlk::LD2412* setup(err_callback_t err, notify_callback_t notification, uint8_t idx, volatile uint8_t &flags);
        hlk::LD2412* sensor();

        void restart();
        void reload_config();
        void factory_reset();
        void switch_bluetooth(bool on);
        void set_basic_config(basic_cfg_t const& cfg);
        void set_light_sense(light_sense_cfg_t const& cfg);
        void set_still_thresholds(still_thresholds_cfg_t const& cfg);
        void set_move_thresholds(move_thresholds_cfg_t const& cfg);
        void set_still_thresholds_raw(hlk::LD2412::gate_array_t const& thr) { set_still_thresholds(still_thresholds_cfg_t{.still_thresholds = thr}); }
        void set_move_thresholds_raw(hlk::LD2412::gate_array_t const& thr) { set_move_thresholds(move_thresholds_cfg_t{.move_thresholds = thr}); }
        void run_back_analysis(run_background_analysis_t const& cfg);
        void collect_statistics(uint8_t win_size);
        void take_statistic_snapshot(snapshot_statistics_cfg_t const& cfg);

        void start_analysis_for_presence(start_analysis_for_presence_t const& cfg);
        void start_analysis_for_absence(start_analysis_for_absence_t const& cfg);
        void stop_analysis(stop_analysis_t const& cfg);
        void get_analysis_results(hlk::LD2412::gate_array_t &results);

        auto get_stat_collect_window_size() const { return m_StatSampleCount; }
        bool is_running_back_analysis() const { return m_BackgroundAnalysisDoneCB != nullptr; }
    private:
        void mainloop();
        void collect_sample();
        void check_back_analysis();

        enum AnalysisState
        {
            Stopped,
            RunningForPresence,
            RunningForAbsence,
        };

        /**********************************************************************/
        /* Thread-related stuff                                               */
        /**********************************************************************/
        static void thread_func(void *, void *, void *);

        static constexpr uint8_t MAX_STAT_SAMPLE_SIZE = 255;
        static constexpr size_t THREAD_STACK_SIZE = 1024 * 2;
        static constexpr size_t THREAD_PRIORITY=7;

        alignas(16) k_thread_stack_t m_ThreadStack[THREAD_STACK_SIZE];
        k_thread m_Thread;
        const char *m_ThreadName = nullptr;
        k_tid_t m_ThreadID = {};

        /**********************************************************************/
        /* End of thread-related stuff                                        */
        /**********************************************************************/
        Queue &m_Q;
        const struct device *m_pUART;
        hlk::LD2412 m_Sensor;

        err_callback_t m_ErrCB = nullptr;
        notify_callback_t m_NotifyCB = nullptr;

        run_background_analysis_t::callback_t m_BackgroundAnalysisDoneCB = {};

        struct stat_sample_t
        {
            hlk::LD2412::gate_array_t still_energies;
            hlk::LD2412::gate_array_t move_energies;
        };

        stat_sample_t m_StatSampleBuffer[MAX_STAT_SAMPLE_SIZE];
        size_t m_StatSampleIndex = 0;
        size_t m_StatSampleCount = 0;
        size_t m_TotalSamplesWritten = 0;
        size_t m_FrameReadErrorCount = 0;

        size_t m_LightSensorUpdateInterval = 5;//seconds

        AnalysisState m_Analysis = AnalysisState::Stopped;
        hlk::LD2412::gate_array_t m_AnalysisStillEnergies;
        uint8_t m_Idx = 0;
        volatile uint8_t *m_pFlags = nullptr;
    };
}
#endif
```

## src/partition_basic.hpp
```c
#ifndef PARTITION_BASIC_HPP_
#define PARTITION_BASIC_HPP_
#include <zephyr/kernel.h>
#include <zephyr/storage/flash_map.h>

namespace zephyr
{
    struct partition_basic_t
    {
        /* For use with flash map */
        const struct flash_area		*flash_area = nullptr;

        ///* For use with streaming flash */
        //struct stream_flash_ctx		stream_ctx;

        /* Checksum of data so far */
        uint16_t			checksum = 0;

        /* Error encountered */
        int				error = 0;

        partition_basic_t() = default;
        partition_basic_t(uint8_t partition_id)
        {
            open(partition_id);
        }

        ~partition_basic_t()
        {
            close();
        }

        operator bool() const { return error == 0; }

        int open(uint8_t partition_id)
        {
            error = flash_area_open(partition_id, &flash_area);
            if (error != 0)
                return error;
            error = 0;
            checksum = 0;
            return 0;
        }

        int erase()
        {
            if (!flash_area) return -1;
            error = flash_area_flatten(flash_area, 0,
                    flash_area->fa_size);
            return error;
        }

        void close()
        {
            if (flash_area)
                flash_area_close(flash_area);
            flash_area = nullptr;
            error = 0;
        }

        template<class T>
        int write(size_t off, T const& t)
        {
            if (!flash_area) return error;
            if (sizeof(T) > (flash_area->fa_size - off))
                return -1;
            error = flash_area_write(flash_area, off, (void *)&t, sizeof(T));
            return error;
        }

        template<class T>
        int read(size_t off, T &t)
        {
            if (!flash_area) return error;
            if (sizeof(T) > (flash_area->fa_size - off))
                return -1;
            error = flash_area_read(flash_area, off, (void *)&t, sizeof(T));
            return error;
        }
    };
}
#endif
```

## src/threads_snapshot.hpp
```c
#ifndef THREADS_SNAPSHOT_HPP_
#define THREADS_SNAPSHOT_HPP_

#include <iterator>
#include <zephyr/kernel.h>
#include <cstddef>
#include <cstdint>

namespace zephyr
{
    inline static constexpr uint32_t kSnapshotMagic = 0x54485244;//"THRD"
    inline static constexpr uint32_t kSnapshotMagicNotReady = 0x54485243;//"THRC"
    inline static constexpr auto fp_ptr_reg = &_callee_saved::v4;
    struct snapshot_cfg_t
    {
        size_t m_MaxTasks = 10;
        size_t m_MaxFrames = 8;
        size_t m_ThreadNameMaxLen = 16;
    };

    template<snapshot_cfg_t cfg = {}>
    struct snapshot_factory_t
    {
        struct thread_t
        {
            char name[cfg.m_ThreadNameMaxLen];
            uintptr_t stack[cfg.m_MaxFrames];

            operator bool() const volatile
            {
                return name[0] || stack[0];
            }

            void capture(const k_thread *k, uintptr_t reg_fp = 0, int frames_offset = 0) volatile
            {
                const char *pSrc = k->name;
                volatile char *pDst = name;
                while(pSrc < std::end(k->name) && *pSrc && pDst < (name + cfg.m_ThreadNameMaxLen - 1))
                    *pDst++ = *pSrc++;
                *pDst = 0;
                uintptr_t fp = reg_fp;
                if (!fp)
                    fp = k->callee_saved.*fp_ptr_reg;

                uintptr_t stack_start = k->stack_info.start;
                uintptr_t stack_end = k->stack_info.start + k->stack_info.size;
                int frames = frames_offset;
                while(fp >= stack_start && fp < stack_end && (fp & 0x03) == 0 && frames < cfg.m_MaxFrames)
                {
                    uint32_t *fp_ptr = (uint32_t *)fp;
                    uint32_t next_fp = fp_ptr[0];
                    uint32_t return_addr = fp_ptr[1];

                    stack[frames++] = return_addr;
                    fp = next_fp;
                }
                if (frames < cfg.m_MaxFrames)
                    stack[frames] = 0;
            }
        };

        struct snapshot_t
        {
            uint32_t magic;
            uint16_t total_size;
            uint8_t  total_tasks;
            uint8_t  flags;
            thread_t tasks[cfg.m_MaxTasks];

            inline static uintptr_t reg_fp;
            inline static size_t pre_captured_frames_count;
            inline static uintptr_t pre_captured_frames[cfg.m_MaxFrames];

            static void on_thread_user_cb_t(const struct k_thread *thread,
                    void *user_data)
            {
                snapshot_t *s = (snapshot_t *)user_data;
                if(s->total_tasks < cfg.m_MaxTasks)
                {
                    if (thread == _current)
                    {
                        int frames = 0;
                        for(;frames < pre_captured_frames_count; ++frames)
                            s->tasks[s->total_tasks].stack[frames] = pre_captured_frames[frames];

                        s->tasks[s->total_tasks++].capture(thread, reg_fp, pre_captured_frames_count);
                    }else
                    {
                        s->tasks[s->total_tasks++].capture(thread);
                    }
                }
            }

            template<std::integral...T>
            void capture(uintptr_t _reg_fp, T... extra_frame) volatile
            {
                magic = kSnapshotMagicNotReady;
                total_size = sizeof(*this);
                total_tasks = 0;
                reg_fp = _reg_fp;
                static_assert(sizeof...(T) <= cfg.m_MaxFrames, "Too many extra frames to store");
                pre_captured_frames_count = sizeof...(T);
                [&]<size_t...I>(std::index_sequence<I...>)
                {
                    ((pre_captured_frames[I] = extra_frame...[I]),...);
                }(std::make_index_sequence<sizeof...(T)>());
                k_thread *current = _kernel.threads;
                if (!current)
                    current = _current;
                k_thread_foreach_unlocked(on_thread_user_cb_t, (void*)this);
                if (total_tasks == 0)
                {
                    //fallback
                    for(;current && total_tasks < cfg.m_MaxTasks; current = current->next_thread)
                        on_thread_user_cb_t(current, (void*)this);
                }

                if (total_tasks < cfg.m_MaxTasks)
                {
                    tasks[total_tasks].name[0] = 0;
                    tasks[total_tasks].stack[0] = 0;
                }
                //at the end, as a final step
                magic = kSnapshotMagic;
            }

            void clear() volatile
            {
                magic = 0;
                flags = 0;
            }

            bool is_valid() volatile const
            {
                return magic == kSnapshotMagic;
            }

            bool is_non_empty() volatile const
            {
                return magic != 0;
            }
        };
    };
}

#endif
```
